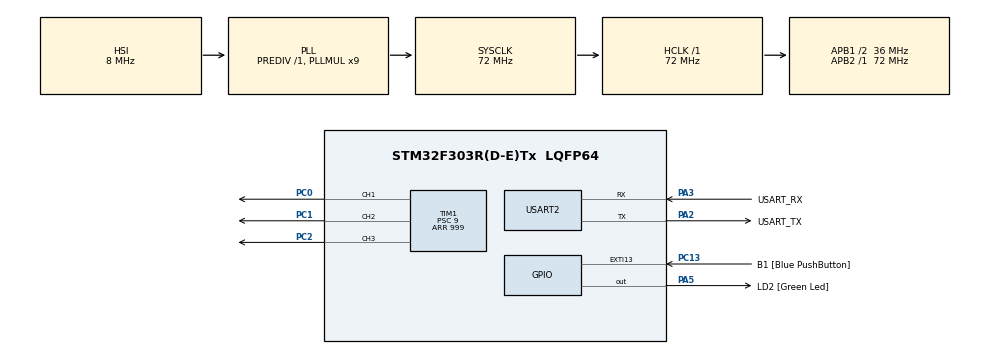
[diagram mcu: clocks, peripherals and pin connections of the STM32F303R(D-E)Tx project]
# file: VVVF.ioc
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Mcu.Family=STM32F3
Mcu.Name=STM32F303R(D-E)Tx
Mcu.Package=LQFP64
NVIC.PriorityGroup=NVIC_PRIORITYGROUP_0
NVIC.TIM1_UP_TIM16_IRQn=true\:0\:0\:false\:false\:true\:true\:true
PA13.GPIO_Label=TMS
PA13.Mode=Serial_Wire
PA13.Signal=SYS_JTMS-SWDIO
PA14.GPIO_Label=TCK
PA14.Mode=Serial_Wire
PA14.Signal=SYS_JTCK-SWCLK
PA2.GPIO_Label=USART_TX
PA2.GPIO_Mode=GPIO_MODE_AF_PP
PA2.GPIO_PuPd=GPIO_NOPULL
PA2.GPIO_Speed=GPIO_SPEED_FREQ_LOW
PA2.Mode=Asynchronous
PA2.Signal=USART2_TX
PA3.GPIO_Label=USART_RX
PA3.GPIO_Mode=GPIO_MODE_AF_PP
PA3.GPIO_PuPd=GPIO_NOPULL
PA3.GPIO_Speed=GPIO_SPEED_FREQ_LOW
PA3.Mode=Asynchronous
PA3.Signal=USART2_RX
PA5.GPIO_Label=LD2 [Green Led]
PA5.GPIO_Mode=GPIO_MODE_OUTPUT_PP
PA5.GPIO_PuPd=GPIO_NOPULL
PA5.GPIO_Speed=GPIO_SPEED_FREQ_LOW
PA5.Signal=GPIO_Output
PB3.GPIO_Label=SWO
PB3.Signal=SYS_JTDO-TRACESWO
PC0.Signal=S_TIM1_CH1
PC1.Signal=S_TIM1_CH2
PC13.GPIO_Label=B1 [Blue PushButton]
PC13.GPIO_ModeDefaultEXTI=GPIO_MODE_IT_FALLING
PC13.Signal=GPXTI13
PC14-OSC32_IN.Mode=LSE-External-Oscillator
PC14-OSC32_IN.Signal=RCC_OSC32_IN
PC15-OSC32_OUT.Mode=LSE-External-Oscillator
PC15-OSC32_OUT.Signal=RCC_OSC32_OUT
PC2.Signal=S_TIM1_CH3
PF0-OSC_IN.Mode=HSE-External-Clock-Source
PF0-OSC_IN.Signal=RCC_OSC_IN
PF1-OSC_OUT.Signal=RCC_OSC_OUT
ProjectManager.HeapSize=0x200
ProjectManager.StackSize=0x400
ProjectManager.TargetToolchain=SW4STM32
RCC.AHBFreq_Value=72000000
RCC.APB1CLKDivider=RCC_HCLK_DIV2
RCC.APB1Freq_Value=36000000
RCC.APB1TimFreq_Value=72000000
RCC.APB2Freq_Value=72000000
RCC.APB2TimFreq_Value=72000000
RCC.CortexFreq_Value=72000000
RCC.HCLKFreq_Value=72000000
RCC.HSE_VALUE=8000000
RCC.HSI_VALUE=8000000
RCC.PLLM=8
RCC.PLLMUL=RCC_PLL_MUL9
RCC.PLLN=336
RCC.PLLP=RCC_PLLP_DIV4
RCC.PLLQ=7
RCC.RCC_PLLsource_Clock_Source_FROM_HSE=RCC_HSE_PREDIV_DIV2
RCC.SYSCLKFreq_VALUE=72000000
RCC.SYSCLKSourceVirtual=RCC_SYSCLKSOURCE_PLLCLK
RCC.USBFreq_Value=72000000
SH.S_TIM1_CH1.0=TIM1_CH1,PWM Generation1 CH1
SH.S_TIM1_CH2.0=TIM1_CH2,PWM Generation2 CH2
SH.S_TIM1_CH3.0=TIM1_CH3,PWM Generation3 CH3
TIM1.AutoReloadPreload=TIM_AUTORELOAD_PRELOAD_ENABLE
TIM1.Channel-PWM\ Generation1\ CH1=TIM_CHANNEL_1
TIM1.Channel-PWM\ Generation2\ CH2=TIM_CHANNEL_2
TIM1.Channel-PWM\ Generation3\ CH3=TIM_CHANNEL_3
TIM1.OCFastMode_PWM-PWM\ Generation1\ CH1=TIM_OCFAST_ENABLE
TIM1.OCFastMode_PWM-PWM\ Generation2\ CH2=TIM_OCFAST_ENABLE
TIM1.OCFastMode_PWM-PWM\ Generation3\ CH3=TIM_OCFAST_ENABLE
TIM1.Period=999
TIM1.Prescaler=9
USART2.VirtualMode-Asynchronous=VM_ASYNC
VP_TIM1_VS_ClockSourceINT.Mode=Internal
board=NUCLEO-F303RE

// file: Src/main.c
/* USER CODE BEGIN Header */
/**
  ******************************************************************************
  * @file           : main.c
  * @brief          : Main program body
  ******************************************************************************
  * @attention
  *
  * <h2><center>&copy; Copyright (c) 2019 STMicroelectronics.
  * All rights reserved.</center></h2>
  *
  * This software component is licensed by ST under BSD 3-Clause license,
  * the "License"; You may not use this file except in compliance with the
  * License. You may obtain a copy of the License at:
  *                        opensource.org/licenses/BSD-3-Clause
  *
  ******************************************************************************
  */
/* USER CODE END Header */

#include "main.h"

TIM_HandleTypeDef htim1;

UART_HandleTypeDef huart2;

void SystemClock_Config(void);
static void MX_GPIO_Init(void);
static void MX_USART2_UART_Init(void);
static void MX_TIM1_Init(void);

/* USER CODE BEGIN 0 */
const static uint8_t vals[] = {
	1,0,1,1,1,1,0,1,1,1,1,1,1,1,0,1,1,1,1,1,1,1,1,1,0,1,1,1,1,1,1,1,1,1,1,0,
	1,1,1,1,1,1,1,1,1,1,0,1,1,1,1,1,1,1,1,1,0,1,1,1,1,1,1,1,0,1,1,1,1,0,1,0,
	0,0,0,0,0,0,0,0,0,0,0,0,0,0,0,0,0,0,0,0,0,0,0,0,0,0,0,0,0,0,0,0,0,0,0,0,
	0,0,0,0,0,0,0,0,0,0,0,0,0,0,0,0,0,0,0,0,0,0,0,0,0,0,0,0,0,0,0,0,0,0,0,0,
};
uint8_t STEP1 = 0, STEP2 = 48, STEP3 = 96;
void __tim_interrupt_callback() {
	TIM1->CCR1 = vals[STEP1] ? TIM1->ARR : 0;
	TIM1->CCR2 = vals[STEP2] ? TIM1->ARR : 0;
	TIM1->CCR3 = vals[STEP3] ? TIM1->ARR : 0;

	STEP1 = STEP1 < 144 ? STEP1 + 1 : 0;
	STEP2 = STEP2 < 144 ? STEP2 + 1 : 0;
	STEP3 = STEP3 < 144 ? STEP3 + 1 : 0;
}
/* USER CODE END 0 */

int main(void)
{

  /* MCU Configuration--------------------------------------------------------*/

  /* Reset of all peripherals, Initializes the Flash interface and the Systick. */
  HAL_Init();

  /* Configure the system clock */
  SystemClock_Config();

  /* Initialize all configured peripherals */
  MX_GPIO_Init();
  MX_USART2_UART_Init();
  MX_TIM1_Init();
  /* USER CODE BEGIN 2 */
  TIM1->ARR = 999;

  HAL_TIM_PWM_Start(&htim1, TIM_CHANNEL_1);
  HAL_TIM_PWM_Start(&htim1, TIM_CHANNEL_2);
  HAL_TIM_PWM_Start(&htim1, TIM_CHANNEL_3);
  HAL_TIM_Base_Start_IT(&htim1);
  /* USER CODE END 2 */

  /* Infinite loop */
  /* USER CODE BEGIN WHILE */
  float val = 1.0F, max = 500.0F;
  while (1) {
	  //HAL_GPIO_TogglePin(LD2_GPIO_Port, LD2_Pin);
	  HAL_Delay(1);
	  TIM1->ARR = (int) (100000.0F / val) - 1;
	  val += 0.25F;
	  if (val > max) {
		  val = max;
		  HAL_GPIO_WritePin(LD2_GPIO_Port, LD2_Pin, GPIO_PIN_RESET);
	  } else {
		  HAL_GPIO_TogglePin(LD2_GPIO_Port, LD2_Pin);
	  }
    /* USER CODE END WHILE */

  }
}

void SystemClock_Config(void)
{
  RCC_OscInitTypeDef RCC_OscInitStruct = {0};
  RCC_ClkInitTypeDef RCC_ClkInitStruct = {0};
  RCC_PeriphCLKInitTypeDef PeriphClkInit = {0};

  /** Initializes the CPU, AHB and APB busses clocks
  */
  RCC_OscInitStruct.OscillatorType = RCC_OSCILLATORTYPE_HSI;
  RCC_OscInitStruct.HSIState = RCC_HSI_ON;
  RCC_OscInitStruct.HSICalibrationValue = RCC_HSICALIBRATION_DEFAULT;
  RCC_OscInitStruct.PLL.PLLState = RCC_PLL_ON;
  RCC_OscInitStruct.PLL.PLLSource = RCC_PLLSOURCE_HSI;
  RCC_OscInitStruct.PLL.PLLMUL = RCC_PLL_MUL9;
  RCC_OscInitStruct.PLL.PREDIV = RCC_PREDIV_DIV1;
  if (HAL_RCC_OscConfig(&RCC_OscInitStruct) != HAL_OK)
  {
    Error_Handler();
  }
  /** Initializes the CPU, AHB and APB busses clocks
  */
  RCC_ClkInitStruct.ClockType = RCC_CLOCKTYPE_HCLK|RCC_CLOCKTYPE_SYSCLK
                              |RCC_CLOCKTYPE_PCLK1|RCC_CLOCKTYPE_PCLK2;
  RCC_ClkInitStruct.SYSCLKSource = RCC_SYSCLKSOURCE_PLLCLK;
  RCC_ClkInitStruct.AHBCLKDivider = RCC_SYSCLK_DIV1;
  RCC_ClkInitStruct.APB1CLKDivider = RCC_HCLK_DIV2;
  RCC_ClkInitStruct.APB2CLKDivider = RCC_HCLK_DIV1;

  if (HAL_RCC_ClockConfig(&RCC_ClkInitStruct, FLASH_LATENCY_2) != HAL_OK)
  {
    Error_Handler();
  }
  PeriphClkInit.PeriphClockSelection = RCC_PERIPHCLK_USART2|RCC_PERIPHCLK_TIM1;
  PeriphClkInit.Usart2ClockSelection = RCC_USART2CLKSOURCE_PCLK1;
  PeriphClkInit.Tim1ClockSelection = RCC_TIM1CLK_HCLK;
  if (HAL_RCCEx_PeriphCLKConfig(&PeriphClkInit) != HAL_OK)
  {
    Error_Handler();
  }
}

static void MX_TIM1_Init(void)
{

  TIM_ClockConfigTypeDef sClockSourceConfig = {0};
  TIM_MasterConfigTypeDef sMasterConfig = {0};
  TIM_OC_InitTypeDef sConfigOC = {0};
  TIM_BreakDeadTimeConfigTypeDef sBreakDeadTimeConfig = {0};

  htim1.Instance = TIM1;
  htim1.Init.Prescaler = 9;
  htim1.Init.CounterMode = TIM_COUNTERMODE_UP;
  htim1.Init.Period = 999;
  htim1.Init.ClockDivision = TIM_CLOCKDIVISION_DIV1;
  htim1.Init.RepetitionCounter = 0;
  htim1.Init.AutoReloadPreload = TIM_AUTORELOAD_PRELOAD_ENABLE;
  if (HAL_TIM_Base_Init(&htim1) != HAL_OK)
  {
    Error_Handler();
  }
  sClockSourceConfig.ClockSource = TIM_CLOCKSOURCE_INTERNAL;
  if (HAL_TIM_ConfigClockSource(&htim1, &sClockSourceConfig) != HAL_OK)
  {
    Error_Handler();
  }
  if (HAL_TIM_PWM_Init(&htim1) != HAL_OK)
  {
    Error_Handler();
  }
  sMasterConfig.MasterOutputTrigger = TIM_TRGO_RESET;
  sMasterConfig.MasterOutputTrigger2 = TIM_TRGO2_RESET;
  sMasterConfig.MasterSlaveMode = TIM_MASTERSLAVEMODE_DISABLE;
  if (HAL_TIMEx_MasterConfigSynchronization(&htim1, &sMasterConfig) != HAL_OK)
  {
    Error_Handler();
  }
  sConfigOC.OCMode = TIM_OCMODE_PWM1;
  sConfigOC.Pulse = 0;
  sConfigOC.OCPolarity = TIM_OCPOLARITY_HIGH;
  sConfigOC.OCNPolarity = TIM_OCNPOLARITY_HIGH;
  sConfigOC.OCFastMode = TIM_OCFAST_ENABLE;
  sConfigOC.OCIdleState = TIM_OCIDLESTATE_RESET;
  sConfigOC.OCNIdleState = TIM_OCNIDLESTATE_RESET;
  if (HAL_TIM_PWM_ConfigChannel(&htim1, &sConfigOC, TIM_CHANNEL_1) != HAL_OK)
  {
    Error_Handler();
  }
  if (HAL_TIM_PWM_ConfigChannel(&htim1, &sConfigOC, TIM_CHANNEL_2) != HAL_OK)
  {
    Error_Handler();
  }
  if (HAL_TIM_PWM_ConfigChannel(&htim1, &sConfigOC, TIM_CHANNEL_3) != HAL_OK)
  {
    Error_Handler();
  }
  sBreakDeadTimeConfig.OffStateRunMode = TIM_OSSR_DISABLE;
  sBreakDeadTimeConfig.OffStateIDLEMode = TIM_OSSI_DISABLE;
  sBreakDeadTimeConfig.LockLevel = TIM_LOCKLEVEL_OFF;
  sBreakDeadTimeConfig.DeadTime = 0;
  sBreakDeadTimeConfig.BreakState = TIM_BREAK_DISABLE;
  sBreakDeadTimeConfig.BreakPolarity = TIM_BREAKPOLARITY_HIGH;
  sBreakDeadTimeConfig.BreakFilter = 0;
  sBreakDeadTimeConfig.Break2State = TIM_BREAK2_DISABLE;
  sBreakDeadTimeConfig.Break2Polarity = TIM_BREAK2POLARITY_HIGH;
  sBreakDeadTimeConfig.Break2Filter = 0;
  sBreakDeadTimeConfig.AutomaticOutput = TIM_AUTOMATICOUTPUT_DISABLE;
  if (HAL_TIMEx_ConfigBreakDeadTime(&htim1, &sBreakDeadTimeConfig) != HAL_OK)
  {
    Error_Handler();
  }
  HAL_TIM_MspPostInit(&htim1);

}

static void MX_USART2_UART_Init(void)
{

  huart2.Instance = USART2;
  huart2.Init.BaudRate = 38400;
  huart2.Init.WordLength = UART_WORDLENGTH_8B;
  huart2.Init.StopBits = UART_STOPBITS_1;
  huart2.Init.Parity = UART_PARITY_NONE;
  huart2.Init.Mode = UART_MODE_TX_RX;
  huart2.Init.HwFlowCtl = UART_HWCONTROL_NONE;
  huart2.Init.OverSampling = UART_OVERSAMPLING_16;
  huart2.Init.OneBitSampling = UART_ONE_BIT_SAMPLE_DISABLE;
  huart2.AdvancedInit.AdvFeatureInit = UART_ADVFEATURE_NO_INIT;
  if (HAL_UART_Init(&huart2) != HAL_OK)
  {
    Error_Handler();
  }

}

static void MX_GPIO_Init(void)
{
  GPIO_InitTypeDef GPIO_InitStruct = {0};

  /* GPIO Ports Clock Enable */
  __HAL_RCC_GPIOC_CLK_ENABLE();
  __HAL_RCC_GPIOF_CLK_ENABLE();
  __HAL_RCC_GPIOA_CLK_ENABLE();
  __HAL_RCC_GPIOB_CLK_ENABLE();

  /*Configure GPIO pin Output Level */
  HAL_GPIO_WritePin(LD2_GPIO_Port, LD2_Pin, GPIO_PIN_RESET);

  /*Configure GPIO pin : B1_Pin */
  GPIO_InitStruct.Pin = B1_Pin;
  GPIO_InitStruct.Mode = GPIO_MODE_IT_FALLING;
  GPIO_InitStruct.Pull = GPIO_NOPULL;
  HAL_GPIO_Init(B1_GPIO_Port, &GPIO_InitStruct);

  /*Configure GPIO pin : LD2_Pin */
  GPIO_InitStruct.Pin = LD2_Pin;
  GPIO_InitStruct.Mode = GPIO_MODE_OUTPUT_PP;
  GPIO_InitStruct.Pull = GPIO_NOPULL;
  GPIO_InitStruct.Speed = GPIO_SPEED_FREQ_LOW;
  HAL_GPIO_Init(LD2_GPIO_Port, &GPIO_InitStruct);

}

void Error_Handler(void)
{
}

/************************ (C) COPYRIGHT STMicroelectronics *****END OF FILE****/
